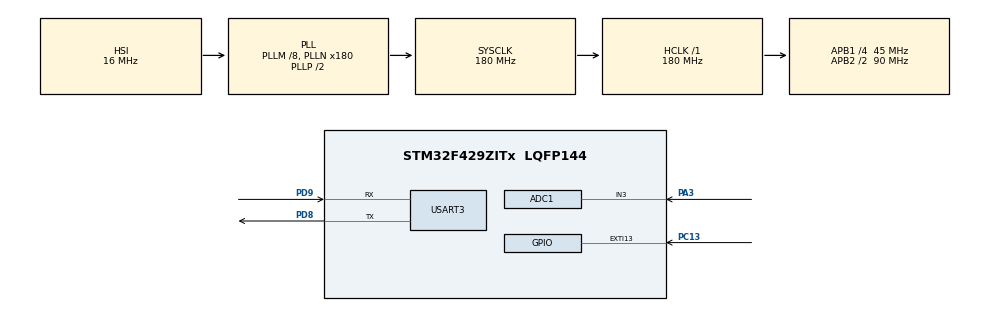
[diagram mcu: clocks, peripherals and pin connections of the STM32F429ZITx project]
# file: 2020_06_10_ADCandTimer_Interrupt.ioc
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ADC1.Channel-1\#ChannelRegularConversion=ADC_CHANNEL_3
ADC1.ExternalTrigConv=ADC_EXTERNALTRIGCONV_T3_TRGO
ADC1.ExternalTrigConvEdge=ADC_EXTERNALTRIGCONVEDGE_RISING
ADC1.NbrOfConversion=1
ADC1.NbrOfConversionFlag=1
ADC1.Rank-1\#ChannelRegularConversion=1
ADC1.SamplingTime-1\#ChannelRegularConversion=ADC_SAMPLETIME_3CYCLES
ADC1.master=1
Mcu.Family=STM32F4
Mcu.Name=STM32F429ZITx
Mcu.Package=LQFP144
NVIC.EXTI15_10_IRQn=true\:0\:0\:false\:true\:true\:1\:true\:true\:true
NVIC.PriorityGroup=NVIC_PRIORITYGROUP_4
NVIC.TIM3_IRQn=true\:0\:0\:false\:true\:true\:3\:true\:true\:true
NVIC.USART3_IRQn=true\:0\:0\:false\:true\:true\:2\:true\:true\:true
PA13.Mode=Serial_Wire
PA13.Signal=SYS_JTMS-SWDIO
PA14.Mode=Serial_Wire
PA14.Signal=SYS_JTCK-SWCLK
PA3.Signal=ADCx_IN3
PC13.GPIO_ModeDefaultEXTI=GPIO_MODE_IT_RISING_FALLING
PC13.Signal=GPXTI13
PC14/OSC32_IN.Mode=LSE-External-Oscillator
PC14/OSC32_IN.Signal=RCC_OSC32_IN
PC15/OSC32_OUT.Mode=LSE-External-Oscillator
PC15/OSC32_OUT.Signal=RCC_OSC32_OUT
PD8.Mode=Asynchronous
PD8.Signal=USART3_TX
PD9.Mode=Asynchronous
PD9.Signal=USART3_RX
ProjectManager.HeapSize=0x200
ProjectManager.StackSize=0x400
ProjectManager.TargetToolchain=STM32CubeIDE
RCC.48MHZClocksFreq_Value=90000000
RCC.AHBFreq_Value=180000000
RCC.APB1CLKDivider=RCC_HCLK_DIV4
RCC.APB1Freq_Value=45000000
RCC.APB1TimFreq_Value=90000000
RCC.APB2CLKDivider=RCC_HCLK_DIV2
RCC.APB2Freq_Value=90000000
RCC.APB2TimFreq_Value=180000000
RCC.CortexFreq_Value=180000000
RCC.HCLKFreq_Value=180000000
RCC.HSE_VALUE=25000000
RCC.HSI_VALUE=16000000
RCC.PLLM=8
RCC.PLLN=180
RCC.RCC_RTC_Clock_Source=RCC_RTCCLKSOURCE_LSE
RCC.RCC_RTC_Clock_SourceVirtual=RCC_RTCCLKSOURCE_LSE
RCC.SYSCLKFreq_VALUE=180000000
RCC.SYSCLKSource=RCC_SYSCLKSOURCE_PLLCLK
RCC.VCOOutputFreq_Value=360000000
SH.ADCx_IN3.0=ADC1_IN3,IN3
TIM3.Period=900
TIM3.Prescaler=10000
TIM3.TIM_MasterOutputTrigger=TIM_TRGO_UPDATE
TIM3.TIM_MasterSlaveMode=TIM_MASTERSLAVEMODE_ENABLE
USART3.VirtualMode=VM_ASYNC
VP_RTC_VS_RTC_Activate.Mode=RTC_Enabled
VP_TIM3_VS_ClockSourceINT.Mode=Internal
board=custom

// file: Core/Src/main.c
/* USER CODE BEGIN Header */
/**
 ******************************************************************************
 * @file           : main.c
 * @brief          : Main program body
 ******************************************************************************
 * @attention
 *
 * Copyright (c) 2022 STMicroelectronics.
 * All rights reserved.
 *
 * This software is licensed under terms that can be found in the LICENSE file
 * in the root directory of this software component.
 * If no LICENSE file comes with this software, it is provided AS-IS.
 *
 ******************************************************************************
 */
/* USER CODE END Header */
#include "main.h"
#include "adc.h"
#include "rtc.h"
#include "tim.h"
#include "usart.h"
#include "gpio.h"

/* USER CODE BEGIN Includes */
#include "stdio.h"
#include "stdint.h"
/* USER CODE END Includes */

/* USER CODE BEGIN PD */
#define UP_KEY_MIN 0
#define UP_KEY_MAX 15
#define DOWN_KEY_MIN 830
#define DOWN_KEY_MAX 870
#define LEFT_KEY_MIN 1920
#define LEFT_KEY_MAX 1960
#define RIGHT_KEY_MIN 2950
#define RIGHT_KEY_MAX 3010

/* USER CODE END PD */

/* USER CODE BEGIN PV */
uint32_t ADC_value;
uint8_t rx;
/* USER CODE END PV */

void SystemClock_Config(void);
static void MX_NVIC_Init(void);

/* USER CODE BEGIN 0 */
int __io_putchar(int ch){

	HAL_UART_Transmit(&huart3, &ch, 1, 100);

	return ch;
}
/* USER CODE END 0 */

int main(void)
{

  /* MCU Configuration--------------------------------------------------------*/

  /* Reset of all peripherals, Initializes the Flash interface and the Systick. */
  HAL_Init();

  /* Configure the system clock */
  SystemClock_Config();

  /* Initialize all configured peripherals */
  MX_GPIO_Init();
  MX_ADC1_Init();
  MX_TIM3_Init();
  MX_RTC_Init();
  MX_USART3_UART_Init();

  /* Initialize interrupts */
  MX_NVIC_Init();
  /* USER CODE BEGIN 2 */
/*  HAL_UART_Receive_IT(&huart3, &rx, 1);*/
  HAL_TIM_Base_Init(&htim3);
  HAL_TIM_Base_Start_IT(&htim3);

  /* USER CODE END 2 */

  /* Infinite loop */
	while (1) {

	}
}

void SystemClock_Config(void)
{
  RCC_OscInitTypeDef RCC_OscInitStruct = {0};
  RCC_ClkInitTypeDef RCC_ClkInitStruct = {0};

  /** Configure the main internal regulator output voltage
  */
  __HAL_RCC_PWR_CLK_ENABLE();
  __HAL_PWR_VOLTAGESCALING_CONFIG(PWR_REGULATOR_VOLTAGE_SCALE1);

  /** Initializes the RCC Oscillators according to the specified parameters
  * in the RCC_OscInitTypeDef structure.
  */
  RCC_OscInitStruct.OscillatorType = RCC_OSCILLATORTYPE_HSI|RCC_OSCILLATORTYPE_LSE;
  RCC_OscInitStruct.LSEState = RCC_LSE_ON;
  RCC_OscInitStruct.HSIState = RCC_HSI_ON;
  RCC_OscInitStruct.HSICalibrationValue = RCC_HSICALIBRATION_DEFAULT;
  RCC_OscInitStruct.PLL.PLLState = RCC_PLL_ON;
  RCC_OscInitStruct.PLL.PLLSource = RCC_PLLSOURCE_HSI;
  RCC_OscInitStruct.PLL.PLLM = 8;
  RCC_OscInitStruct.PLL.PLLN = 180;
  RCC_OscInitStruct.PLL.PLLP = RCC_PLLP_DIV2;
  RCC_OscInitStruct.PLL.PLLQ = 4;
  if (HAL_RCC_OscConfig(&RCC_OscInitStruct) != HAL_OK)
  {
    Error_Handler();
  }

  /** Activate the Over-Drive mode
  */
  if (HAL_PWREx_EnableOverDrive() != HAL_OK)
  {
    Error_Handler();
  }

  /** Initializes the CPU, AHB and APB buses clocks
  */
  RCC_ClkInitStruct.ClockType = RCC_CLOCKTYPE_HCLK|RCC_CLOCKTYPE_SYSCLK
                              |RCC_CLOCKTYPE_PCLK1|RCC_CLOCKTYPE_PCLK2;
  RCC_ClkInitStruct.SYSCLKSource = RCC_SYSCLKSOURCE_PLLCLK;
  RCC_ClkInitStruct.AHBCLKDivider = RCC_SYSCLK_DIV1;
  RCC_ClkInitStruct.APB1CLKDivider = RCC_HCLK_DIV4;
  RCC_ClkInitStruct.APB2CLKDivider = RCC_HCLK_DIV2;

  if (HAL_RCC_ClockConfig(&RCC_ClkInitStruct, FLASH_LATENCY_5) != HAL_OK)
  {
    Error_Handler();
  }
}

/**
  * @brief NVIC Configuration.
  * @retval None
  */
static void MX_NVIC_Init(void)
{
  /* EXTI15_10_IRQn interrupt configuration */
  HAL_NVIC_SetPriority(EXTI15_10_IRQn, 0, 0);
  HAL_NVIC_EnableIRQ(EXTI15_10_IRQn);
  /* USART3_IRQn interrupt configuration */
  HAL_NVIC_SetPriority(USART3_IRQn, 0, 0);
  HAL_NVIC_EnableIRQ(USART3_IRQn);
  /* TIM3_IRQn interrupt configuration */
  HAL_NVIC_SetPriority(TIM3_IRQn, 0, 0);
  HAL_NVIC_EnableIRQ(TIM3_IRQn);
}

/* USER CODE BEGIN 4 */
void HAL_TIM_PeriodElapsedCallback(TIM_HandleTypeDef *htim) {
	if (htim->Instance == TIM3) {
		HAL_ADC_Start(&hadc1);
		ADC_value = HAL_ADC_GetValue(&hadc1);
		printf("ADC_value = %lu\r\n", ADC_value);
		if (ADC_value <= UP_KEY_MAX) {
			printf("UP\r\n");
		}
		if (ADC_value >= DOWN_KEY_MIN && ADC_value <= DOWN_KEY_MAX) {
			printf("DOWN\r\n");
		}
		if (ADC_value >= LEFT_KEY_MIN && ADC_value <= LEFT_KEY_MAX) {
			printf("LEFT\r\n");
		}
		if (ADC_value >= RIGHT_KEY_MIN && ADC_value <= RIGHT_KEY_MAX) {
			printf("RIGHT\r\n");
		}
	}
}
/* USER CODE END 4 */

void Error_Handler(void)
{
	__disable_irq();
	while (1) {
	}
}
